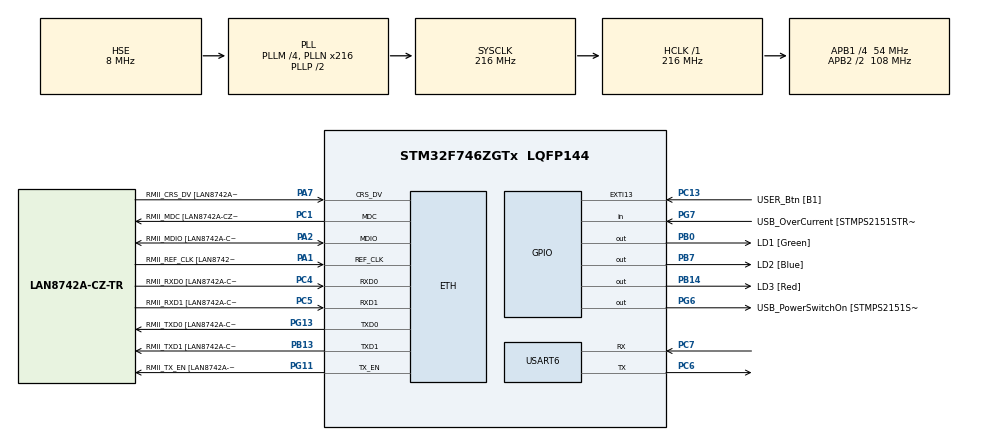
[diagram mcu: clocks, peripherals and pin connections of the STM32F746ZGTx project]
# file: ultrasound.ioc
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ETH.MediaInterface=ETH_MEDIA_INTERFACE_RMII
ETH.PHY_Name=LAN8742A_PHY_ADDRESS
ETH.PHY_Value=0
ETH.PhyAddress=0
LWIP.IP_ADDRESS=169.254.212.180
LWIP.LWIP_DHCP=0
LWIP.NETMASK_ADDRESS=255.255.000.000
LWIP.Version=v2.0.3_Cube
Mcu.Family=STM32F7
Mcu.Name=STM32F746ZGTx
Mcu.Package=LQFP144
NVIC.PriorityGroup=NVIC_PRIORITYGROUP_4
PA1.GPIO_Label=RMII_REF_CLK [LAN8742A-CZ-TR_REFCLK0]
PA1.Mode=RMII
PA1.Signal=ETH_REF_CLK
PA10.GPIO_Label=USB_ID
PA10.Signal=USB_OTG_FS_ID
PA11.GPIO_Label=USB_DM
PA11.Signal=USB_OTG_FS_DM
PA12.GPIO_Label=USB_DP
PA12.Signal=USB_OTG_FS_DP
PA13.GPIO_Label=TMS
PA13.Mode=Serial_Wire
PA13.Signal=SYS_JTMS-SWDIO
PA14.GPIO_Label=TCK
PA14.Mode=Serial_Wire
PA14.Signal=SYS_JTCK-SWCLK
PA2.GPIO_Label=RMII_MDIO [LAN8742A-CZ-TR_MDIO]
PA2.Mode=RMII
PA2.Signal=ETH_MDIO
PA7.GPIO_Label=RMII_CRS_DV [LAN8742A-CZ-TR_CRS_DV]
PA7.Mode=RMII
PA7.Signal=ETH_CRS_DV
PA8.GPIO_Label=USB_SOF [TP1]
PA8.Signal=USB_OTG_FS_SOF
PA9.GPIO_Label=USB_VBUS
PA9.Signal=USB_OTG_FS_VBUS
PB0.GPIO_Label=LD1 [Green]
PB0.Signal=GPIO_Output
PB13.GPIO_Label=RMII_TXD1 [LAN8742A-CZ-TR_TXD1]
PB13.Mode=RMII
PB13.Signal=ETH_TXD1
PB14.GPIO_Label=LD3 [Red]
PB14.Signal=GPIO_Output
PB3.GPIO_Label=SW0
PB3.Signal=SYS_JTDO-SWO
PB7.GPIO_Label=LD2 [Blue]
PB7.Signal=GPIO_Output
PC1.GPIO_Label=RMII_MDC [LAN8742A-CZ-TR_MDC]
PC1.Mode=RMII
PC1.Signal=ETH_MDC
PC13.GPIO_Label=USER_Btn [B1]
PC13.Signal=GPXTI13
PC14/OSC32_IN.Mode=LSE-External-Oscillator
PC14/OSC32_IN.Signal=RCC_OSC32_IN
PC15/OSC32_OUT.Mode=LSE-External-Oscillator
PC15/OSC32_OUT.Signal=RCC_OSC32_OUT
PC4.GPIO_Label=RMII_RXD0 [LAN8742A-CZ-TR_RXD0]
PC4.Mode=RMII
PC4.Signal=ETH_RXD0
PC5.GPIO_Label=RMII_RXD1 [LAN8742A-CZ-TR_RXD1]
PC5.Mode=RMII
PC5.Signal=ETH_RXD1
PC6.Mode=Asynchronous
PC6.Signal=USART6_TX
PC7.Mode=Asynchronous
PC7.Signal=USART6_RX
PD8.GPIO_Label=STLK_RX [STM32F103CBT6_PA3]
PD8.Signal=USART3_TX
PD9.GPIO_Label=STLK_TX [STM32F103CBT6_PA2]
PD9.Signal=USART3_RX
PG11.GPIO_Label=RMII_TX_EN [LAN8742A-CZ-TR_TXEN]
PG11.Mode=RMII
PG11.Signal=ETH_TX_EN
PG13.GPIO_Label=RMII_TXD0 [LAN8742A-CZ-TR_TXD0]
PG13.Mode=RMII
PG13.Signal=ETH_TXD0
PG6.GPIO_Label=USB_PowerSwitchOn [STMPS2151STR_EN]
PG6.Signal=GPIO_Output
PG7.GPIO_Label=USB_OverCurrent [STMPS2151STR_FAULT]
PG7.Signal=GPIO_Input
PH0/OSC_IN.GPIO_Label=MCO [STM32F103CBT6_PA8]
PH0/OSC_IN.Mode=HSE-External-Clock-Source
PH0/OSC_IN.Signal=RCC_OSC_IN
PH1/OSC_OUT.Mode=HSE-External-Clock-Source
PH1/OSC_OUT.Signal=RCC_OSC_OUT
ProjectManager.HeapSize=0x200
ProjectManager.StackSize=0x400
ProjectManager.TargetToolchain=STM32CubeIDE
RCC.48MHZClocksFreq_Value=24000000
RCC.AHBFreq_Value=216000000
RCC.APB1CLKDivider=RCC_HCLK_DIV4
RCC.APB1Freq_Value=54000000
RCC.APB1TimFreq_Value=108000000
RCC.APB2CLKDivider=RCC_HCLK_DIV2
RCC.APB2Freq_Value=108000000
RCC.APB2TimFreq_Value=216000000
RCC.CortexFreq_Value=216000000
RCC.HCLKFreq_Value=216000000
RCC.HSE_VALUE=8000000
RCC.HSI_VALUE=16000000
RCC.PLLM=4
RCC.PLLMUL=RCC_PLL_MUL9
RCC.PLLN=216
RCC.PLLQ=3
RCC.PLLSourceVirtual=RCC_PLLSOURCE_HSE
RCC.PRESCALERUSB=RCC_USBCLKSOURCE_PLL_DIV1_5
RCC.SYSCLKFreq_VALUE=216000000
RCC.SYSCLKSource=RCC_SYSCLKSOURCE_PLLCLK
RCC.SYSCLKSourceVirtual=RCC_SYSCLKSOURCE_PLLCLK
RCC.USBFreq_Value=144000000
RCC.VCOOutputFreq_Value=432000000
USART6.VirtualMode-Asynchronous=VM_ASYNC
VP_LWIP_VS_Enabled.Mode=Enabled
board=NUCLEO-F746ZG

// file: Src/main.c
/* USER CODE BEGIN Header */
/**
  ******************************************************************************
  * @file           : main.c
  * @brief          : Main program body
  ******************************************************************************
  * @attention
  *
  * <h2><center>&copy; Copyright (c) 2019 STMicroelectronics.
  * All rights reserved.</center></h2>
  *
  * This software component is licensed by ST under BSD 3-Clause license,
  * the "License"; You may not use this file except in compliance with the
  * License. You may obtain a copy of the License at:
  *                        opensource.org/licenses/BSD-3-Clause
  *
  ******************************************************************************
  */
/* USER CODE END Header */

#include "main.h"
#include "lwip.h"
#include "usart.h"
#include "gpio.h"

/* USER CODE BEGIN Includes */
#include "lwip.h"
#include "usart.h"
#include "gpio.h"
#include "tcp_client.h"
#include "udp_client.h"
#include "ethernet_comm.h"

/* USER CODE END Includes */

void SystemClock_Config(void);
/* USER CODE BEGIN PFP */
void vprint(const char *fmt, va_list argp);
void serial_printf(const char *fmt, ...);
/* USER CODE END PFP */

int main(void)
{

  /* MCU Configuration--------------------------------------------------------*/

  /* Reset of all peripherals, Initializes the Flash interface and the Systick. */
  HAL_Init();

  /* Configure the system clock */
  SystemClock_Config();

  /* Initialize all configured peripherals */
  MX_GPIO_Init();
  MX_LWIP_Init();
  MX_USART6_UART_Init();
  /* USER CODE BEGIN 2 */
  udp_client_init();
  struct tcp_pcb *tpcb;
  tpcb = tcp_client_init();
  int i;
  char message[1000];
  for(i = 0; i < 1000; i++){
	  message[i] = 0xff;
  }
  /* USER CODE END 2 */

  /* Infinite loop */
  while (1)
  {

    /* USER CODE BEGIN 3 */
	  MX_LWIP_Process();

	  //tcp_write(tpcb, message, 500, 0);

	  udp_client_send(message);
	  //ethernet_sendtest1();
	  //serial_printf("Hello\n");
	  //HAL_Delay(200);
  }
  /* USER CODE END 3 */
}

void SystemClock_Config(void)
{
  RCC_OscInitTypeDef RCC_OscInitStruct = {0};
  RCC_ClkInitTypeDef RCC_ClkInitStruct = {0};
  RCC_PeriphCLKInitTypeDef PeriphClkInitStruct = {0};

  /** Configure LSE Drive Capability
  */
  HAL_PWR_EnableBkUpAccess();
  /** Configure the main internal regulator output voltage
  */
  __HAL_RCC_PWR_CLK_ENABLE();
  __HAL_PWR_VOLTAGESCALING_CONFIG(PWR_REGULATOR_VOLTAGE_SCALE1);
  /** Initializes the CPU, AHB and APB busses clocks
  */
  RCC_OscInitStruct.OscillatorType = RCC_OSCILLATORTYPE_HSE;
  RCC_OscInitStruct.HSEState = RCC_HSE_BYPASS;
  RCC_OscInitStruct.PLL.PLLState = RCC_PLL_ON;
  RCC_OscInitStruct.PLL.PLLSource = RCC_PLLSOURCE_HSE;
  RCC_OscInitStruct.PLL.PLLM = 4;
  RCC_OscInitStruct.PLL.PLLN = 216;
  RCC_OscInitStruct.PLL.PLLP = RCC_PLLP_DIV2;
  RCC_OscInitStruct.PLL.PLLQ = 3;
  if (HAL_RCC_OscConfig(&RCC_OscInitStruct) != HAL_OK)
  {
    Error_Handler();
  }
  /** Activate the Over-Drive mode
  */
  if (HAL_PWREx_EnableOverDrive() != HAL_OK)
  {
    Error_Handler();
  }
  /** Initializes the CPU, AHB and APB busses clocks
  */
  RCC_ClkInitStruct.ClockType = RCC_CLOCKTYPE_HCLK|RCC_CLOCKTYPE_SYSCLK
                              |RCC_CLOCKTYPE_PCLK1|RCC_CLOCKTYPE_PCLK2;
  RCC_ClkInitStruct.SYSCLKSource = RCC_SYSCLKSOURCE_PLLCLK;
  RCC_ClkInitStruct.AHBCLKDivider = RCC_SYSCLK_DIV1;
  RCC_ClkInitStruct.APB1CLKDivider = RCC_HCLK_DIV4;
  RCC_ClkInitStruct.APB2CLKDivider = RCC_HCLK_DIV2;

  if (HAL_RCC_ClockConfig(&RCC_ClkInitStruct, FLASH_LATENCY_7) != HAL_OK)
  {
    Error_Handler();
  }
  PeriphClkInitStruct.PeriphClockSelection = RCC_PERIPHCLK_USART6;
  PeriphClkInitStruct.Usart6ClockSelection = RCC_USART6CLKSOURCE_PCLK2;
  if (HAL_RCCEx_PeriphCLKConfig(&PeriphClkInitStruct) != HAL_OK)
  {
    Error_Handler();
  }
}

/* USER CODE BEGIN 4 */
void vprint(const char *fmt, va_list argp)
{
    char string[200];
    if(0 < vsprintf(string,fmt,argp)) // build string
    {
        HAL_UART_Transmit(&huart6, (uint8_t*)string, strlen(string), 0xffffff); // send message via UART
    }
}

void serial_printf(const char *fmt, ...) // custom printf() function
{
    va_list argp;
    va_start(argp, fmt);
    vprint(fmt, argp);
    va_end(argp);
}

/* USER CODE END 4 */

void Error_Handler(void)
{
}

/************************ (C) COPYRIGHT STMicroelectronics *****END OF FILE****/
